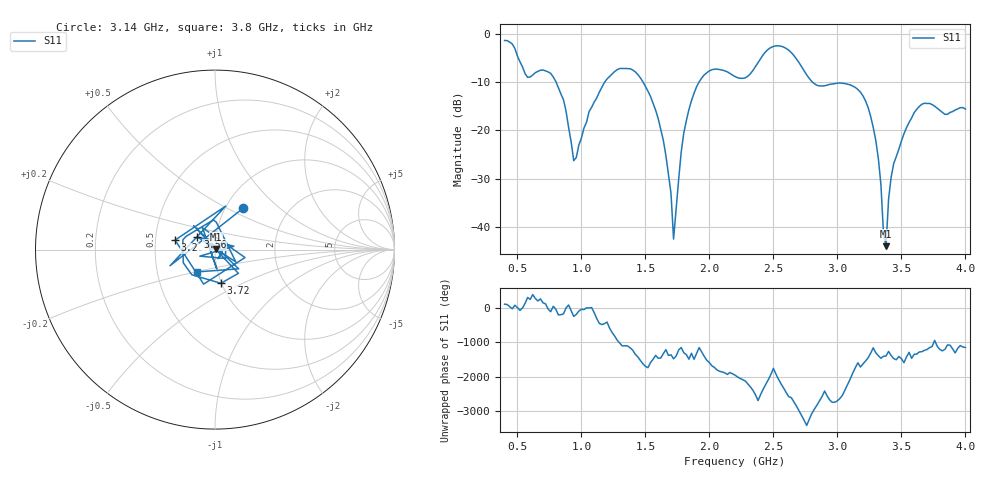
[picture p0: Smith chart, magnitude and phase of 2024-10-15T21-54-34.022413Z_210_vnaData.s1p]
! Created with skrf (http://scikit-rf.org).
# Hz S RI R 50.0
!freq ReS11 ImS11
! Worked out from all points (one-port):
!   181 points, 400 MHz to 4 GHz, reference 50 ohm
!   lowest |S11| = -44.1 dB at 3.38 GHz (marker M1), VSWR 1.01, Z = 50.5 + j0.39 ohm
!   |S11| at or under -10 dB: 802.8 MHz to 1.181 GHz (378.3 MHz wide, 38.1 % of centre); 1.483 GHz to 1.918 GHz (435.5 MHz wide, 25.6 % of centre); 2.807 GHz to end of sweep
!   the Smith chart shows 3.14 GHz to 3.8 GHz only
!   S11 on the Smith chart (normalised r, x): 3.14 GHz: 1.21, +0.61; 3.2 GHz: 0.63, +0.07; 3.56 GHz: 0.81, +0.12; 3.72 GHz: 0.99, -0.39; 3.8 GHz: 0.79, -0.20
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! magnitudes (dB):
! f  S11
! 400 MHz  -1.3
! 580 MHz  -9.0
! 860 MHz  -13.6
! 940 MHz  -26.3
! 1.06 GHz  -16.1
! 1.3 GHz  -7.1
! 1.44 GHz  -8.4
! 1.58 GHz  -15.8
! 1.66 GHz  -25.2
! 1.7 GHz  -33.1
! 1.72 GHz  -42.6
! 1.76 GHz  -30.1
! 1.82 GHz  -18.0
! 1.92 GHz  -9.9
! 2.2 GHz  -8.8
! 2.5 GHz  -2.5
! 2.66 GHz  -4.4
! 2.84 GHz  -10.6
! 3.1 GHz  -10.5
! 3.14 GHz  -11.1
! 3.2 GHz  -12.8
! 3.3 GHz  -22.1
! 3.38 GHz  -44.1
! 3.42 GHz  -29.7
! 3.56 GHz  -18.4
! 3.72 GHz  -14.4
! 3.8 GHz  -15.8
! 4 GHz  -15.6
